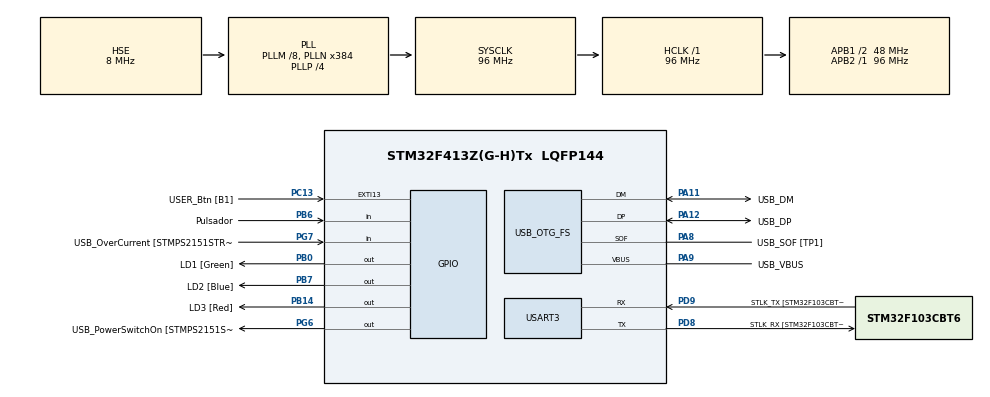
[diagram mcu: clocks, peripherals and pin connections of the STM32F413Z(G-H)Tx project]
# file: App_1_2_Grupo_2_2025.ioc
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Mcu.Family=STM32F4
Mcu.Name=STM32F413Z(G-H)Tx
Mcu.Package=LQFP144
NVIC.PriorityGroup=NVIC_PRIORITYGROUP_4
PA10.GPIO_Label=USB_ID
PA10.Signal=USB_OTG_FS_ID
PA11.GPIO_Label=USB_DM
PA11.Mode=Device_Only
PA11.Signal=USB_OTG_FS_DM
PA12.GPIO_Label=USB_DP
PA12.Mode=Device_Only
PA12.Signal=USB_OTG_FS_DP
PA13.GPIO_Label=TMS
PA13.Mode=Serial_Wire
PA13.Signal=SYS_JTMS-SWDIO
PA14.GPIO_Label=TCK
PA14.Mode=Serial_Wire
PA14.Signal=SYS_JTCK-SWCLK
PA8.GPIO_Label=USB_SOF [TP1]
PA8.Mode=Activate_SOF_FS
PA8.Signal=USB_OTG_FS_SOF
PA9.GPIO_Label=USB_VBUS
PA9.Mode=Activate_VBUS
PA9.Signal=USB_OTG_FS_VBUS
PB0.GPIO_Label=LD1 [Green]
PB0.Signal=GPIO_Output
PB14.GPIO_Label=LD3 [Red]
PB14.Signal=GPIO_Output
PB3.GPIO_Label=SWO
PB3.Signal=SYS_JTDO-SWO
PB6.GPIO_Label=Pulsador
PB6.Signal=GPIO_Input
PB7.GPIO_Label=LD2 [Blue]
PB7.Signal=GPIO_Output
PC13.GPIO_Label=USER_Btn [B1]
PC13.Signal=GPXTI13
PC14-OSC32_IN.Mode=LSE-External-Oscillator
PC14-OSC32_IN.Signal=RCC_OSC32_IN
PC15-OSC32_OUT.Mode=LSE-External-Oscillator
PC15-OSC32_OUT.Signal=RCC_OSC32_OUT
PD8.GPIO_Label=STLK_RX [STM32F103CBT6_PA3]
PD8.Mode=Asynchronous
PD8.Signal=USART3_TX
PD9.GPIO_Label=STLK_TX [STM32F103CBT6_PA2]
PD9.Mode=Asynchronous
PD9.Signal=USART3_RX
PG6.GPIO_Label=USB_PowerSwitchOn [STMPS2151STR_EN]
PG6.Signal=GPIO_Output
PG7.GPIO_Label=USB_OverCurrent [STMPS2151STR_FAULT]
PG7.Signal=GPIO_Input
PH0\ -\ OSC_IN.GPIO_Label=MCO
PH0\ -\ OSC_IN.Mode=HSE-External-Clock-Source
PH0\ -\ OSC_IN.Signal=RCC_OSC_IN
PH1\ -\ OSC_OUT.Mode=HSE-External-Clock-Source
PH1\ -\ OSC_OUT.Signal=RCC_OSC_OUT
ProjectManager.HeapSize=0x200
ProjectManager.StackSize=0x400
ProjectManager.TargetToolchain=STM32CubeIDE
RCC.48MHZClocksFreq_Value=24000000
RCC.AHBFreq_Value=96000000
RCC.APB1CLKDivider=RCC_HCLK_DIV2
RCC.APB1Freq_Value=48000000
RCC.APB1TimFreq_Value=96000000
RCC.APB2Freq_Value=96000000
RCC.APB2TimFreq_Value=96000000
RCC.CortexFreq_Value=96000000
RCC.HCLKFreq_Value=96000000
RCC.HSE_VALUE=8000000
RCC.HSI_VALUE=16000000
RCC.PLLM=8
RCC.PLLMUL=RCC_PLL_MUL9
RCC.PLLN=384
RCC.PLLP=RCC_PLLP_DIV4
RCC.PLLQ=8
RCC.PRESCALERUSB=RCC_USBCLKSOURCE_PLL_DIV1_5
RCC.SYSCLKFreq_VALUE=96000000
RCC.SYSCLKSource=RCC_SYSCLKSOURCE_PLLCLK
RCC.SYSCLKSourceVirtual=RCC_SYSCLKSOURCE_PLLCLK
RCC.USBFreq_Value=48000000
RCC.VCOOutputFreq_Value=384000000
USART3.VirtualMode=VM_ASYNC
USB_OTG_FS.VirtualMode=Device_Only
board=NUCLEO-F413ZH

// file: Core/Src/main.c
/* USER CODE BEGIN Header */
/**
  ******************************************************************************
  * @file           : main.c
  * @brief          : Main program body
  ******************************************************************************
  * @attention
  *
  * Copyright (c) 2025 STMicroelectronics.
  * All rights reserved.
  *
  * This software is licensed under terms that can be found in the LICENSE file
  * in the root directory of this software component.
  * If no LICENSE file comes with this software, it is provided AS-IS.
  *
  ******************************************************************************
  */
/* USER CODE END Header */
#include "main.h"

uint8_t secuencia = 1;

UART_HandleTypeDef huart3;

PCD_HandleTypeDef hpcd_USB_OTG_FS;

void SystemClock_Config(void);
static void MX_GPIO_Init(void);
static void MX_USART3_UART_Init(void);
static void MX_USB_OTG_FS_PCD_Init(void);

int main(void)
{

  /* MCU Configuration--------------------------------------------------------*/

  /* Reset of all peripherals, Initializes the Flash interface and the Systick. */
  HAL_Init();

  /* Configure the system clock */
  SystemClock_Config();

  /* Initialize all configured peripherals */
  MX_GPIO_Init();
  MX_USART3_UART_Init();
  MX_USB_OTG_FS_PCD_Init();

  /* Infinite loop */
  while (1)
  {

    /* USER CODE BEGIN 3 */
	  switch(secuencia){
	        case 1: HAL_GPIO_WritePin(GPIOB, LD1_Pin, GPIO_PIN_SET);
	 	 	        HAL_Delay(200);
	 	            HAL_GPIO_WritePin(GPIOB, LD1_Pin, GPIO_PIN_RESET);
	 	 	        HAL_Delay(200);
	 	 	        HAL_GPIO_WritePin(GPIOB, LD2_Pin, GPIO_PIN_SET);
	 	 	        HAL_Delay(200);
	 	 	        HAL_GPIO_WritePin(GPIOB, LD2_Pin, GPIO_PIN_RESET);
	 	 	        HAL_Delay(200);
	 	 	        HAL_GPIO_WritePin(GPIOB, LD3_Pin, GPIO_PIN_SET);
	 	 	        HAL_Delay(200);
	 	 	        HAL_GPIO_WritePin(GPIOB, LD3_Pin, GPIO_PIN_RESET);
	 	 	        HAL_Delay(200);
	 	 	        break;
	        case 2: HAL_GPIO_WritePin(GPIOB, LD3_Pin, GPIO_PIN_SET);
	 	            HAL_Delay(200);
	                HAL_GPIO_WritePin(GPIOB, LD3_Pin, GPIO_PIN_RESET);
	 	            HAL_Delay(200);
	 	            HAL_GPIO_WritePin(GPIOB, LD2_Pin, GPIO_PIN_SET);
	 	            HAL_Delay(200);
	 	            HAL_GPIO_WritePin(GPIOB, LD2_Pin, GPIO_PIN_RESET);
	 	            HAL_Delay(200);
	 	            HAL_GPIO_WritePin(GPIOB, LD1_Pin, GPIO_PIN_SET);
	 	            HAL_Delay(200);
	 	            HAL_GPIO_WritePin(GPIOB, LD1_Pin, GPIO_PIN_RESET);
	 	            HAL_Delay(200);
	      }
	           if(HAL_GPIO_ReadPin(GPIOB, Pulsador_Pin) == GPIO_PIN_SET){
	     	         secuencia = secuencia+1;
	     	         HAL_Delay(200);
	     	              if(secuencia ==3){
	     		              secuencia = 1;
	     	      }
	      }
  }
  /* USER CODE END 3 */
}

void SystemClock_Config(void)
{
  RCC_OscInitTypeDef RCC_OscInitStruct = {0};
  RCC_ClkInitTypeDef RCC_ClkInitStruct = {0};

  /** Configure the main internal regulator output voltage
  */
  __HAL_RCC_PWR_CLK_ENABLE();
  __HAL_PWR_VOLTAGESCALING_CONFIG(PWR_REGULATOR_VOLTAGE_SCALE1);

  /** Initializes the RCC Oscillators according to the specified parameters
  * in the RCC_OscInitTypeDef structure.
  */
  RCC_OscInitStruct.OscillatorType = RCC_OSCILLATORTYPE_HSE;
  RCC_OscInitStruct.HSEState = RCC_HSE_BYPASS;
  RCC_OscInitStruct.PLL.PLLState = RCC_PLL_ON;
  RCC_OscInitStruct.PLL.PLLSource = RCC_PLLSOURCE_HSE;
  RCC_OscInitStruct.PLL.PLLM = 8;
  RCC_OscInitStruct.PLL.PLLN = 384;
  RCC_OscInitStruct.PLL.PLLP = RCC_PLLP_DIV4;
  RCC_OscInitStruct.PLL.PLLQ = 8;
  RCC_OscInitStruct.PLL.PLLR = 2;
  if (HAL_RCC_OscConfig(&RCC_OscInitStruct) != HAL_OK)
  {
    Error_Handler();
  }

  /** Initializes the CPU, AHB and APB buses clocks
  */
  RCC_ClkInitStruct.ClockType = RCC_CLOCKTYPE_HCLK|RCC_CLOCKTYPE_SYSCLK
                              |RCC_CLOCKTYPE_PCLK1|RCC_CLOCKTYPE_PCLK2;
  RCC_ClkInitStruct.SYSCLKSource = RCC_SYSCLKSOURCE_PLLCLK;
  RCC_ClkInitStruct.AHBCLKDivider = RCC_SYSCLK_DIV1;
  RCC_ClkInitStruct.APB1CLKDivider = RCC_HCLK_DIV2;
  RCC_ClkInitStruct.APB2CLKDivider = RCC_HCLK_DIV1;

  if (HAL_RCC_ClockConfig(&RCC_ClkInitStruct, FLASH_LATENCY_3) != HAL_OK)
  {
    Error_Handler();
  }
}

static void MX_USART3_UART_Init(void)
{

  huart3.Instance = USART3;
  huart3.Init.BaudRate = 115200;
  huart3.Init.WordLength = UART_WORDLENGTH_8B;
  huart3.Init.StopBits = UART_STOPBITS_1;
  huart3.Init.Parity = UART_PARITY_NONE;
  huart3.Init.Mode = UART_MODE_TX_RX;
  huart3.Init.HwFlowCtl = UART_HWCONTROL_NONE;
  huart3.Init.OverSampling = UART_OVERSAMPLING_16;
  if (HAL_UART_Init(&huart3) != HAL_OK)
  {
    Error_Handler();
  }

}

static void MX_USB_OTG_FS_PCD_Init(void)
{

  hpcd_USB_OTG_FS.Instance = USB_OTG_FS;
  hpcd_USB_OTG_FS.Init.dev_endpoints = 6;
  hpcd_USB_OTG_FS.Init.speed = PCD_SPEED_FULL;
  hpcd_USB_OTG_FS.Init.dma_enable = DISABLE;
  hpcd_USB_OTG_FS.Init.phy_itface = PCD_PHY_EMBEDDED;
  hpcd_USB_OTG_FS.Init.Sof_enable = ENABLE;
  hpcd_USB_OTG_FS.Init.low_power_enable = DISABLE;
  hpcd_USB_OTG_FS.Init.lpm_enable = DISABLE;
  hpcd_USB_OTG_FS.Init.battery_charging_enable = ENABLE;
  hpcd_USB_OTG_FS.Init.vbus_sensing_enable = ENABLE;
  hpcd_USB_OTG_FS.Init.use_dedicated_ep1 = DISABLE;
  if (HAL_PCD_Init(&hpcd_USB_OTG_FS) != HAL_OK)
  {
    Error_Handler();
  }

}

static void MX_GPIO_Init(void)
{
  GPIO_InitTypeDef GPIO_InitStruct = {0};

  /* GPIO Ports Clock Enable */
  __HAL_RCC_GPIOC_CLK_ENABLE();
  __HAL_RCC_GPIOH_CLK_ENABLE();
  __HAL_RCC_GPIOB_CLK_ENABLE();
  __HAL_RCC_GPIOD_CLK_ENABLE();
  __HAL_RCC_GPIOG_CLK_ENABLE();
  __HAL_RCC_GPIOA_CLK_ENABLE();

  /*Configure GPIO pin Output Level */
  HAL_GPIO_WritePin(GPIOB, LD1_Pin|LD3_Pin|LD2_Pin, GPIO_PIN_RESET);

  /*Configure GPIO pin Output Level */
  HAL_GPIO_WritePin(USB_PowerSwitchOn_GPIO_Port, USB_PowerSwitchOn_Pin, GPIO_PIN_RESET);

  /*Configure GPIO pin : USER_Btn_Pin */
  GPIO_InitStruct.Pin = USER_Btn_Pin;
  GPIO_InitStruct.Mode = GPIO_MODE_IT_RISING;
  GPIO_InitStruct.Pull = GPIO_NOPULL;
  HAL_GPIO_Init(USER_Btn_GPIO_Port, &GPIO_InitStruct);

  /*Configure GPIO pins : LD1_Pin LD3_Pin LD2_Pin */
  GPIO_InitStruct.Pin = LD1_Pin|LD3_Pin|LD2_Pin;
  GPIO_InitStruct.Mode = GPIO_MODE_OUTPUT_PP;
  GPIO_InitStruct.Pull = GPIO_NOPULL;
  GPIO_InitStruct.Speed = GPIO_SPEED_FREQ_LOW;
  HAL_GPIO_Init(GPIOB, &GPIO_InitStruct);

  /*Configure GPIO pin : USB_PowerSwitchOn_Pin */
  GPIO_InitStruct.Pin = USB_PowerSwitchOn_Pin;
  GPIO_InitStruct.Mode = GPIO_MODE_OUTPUT_PP;
  GPIO_InitStruct.Pull = GPIO_NOPULL;
  GPIO_InitStruct.Speed = GPIO_SPEED_FREQ_LOW;
  HAL_GPIO_Init(USB_PowerSwitchOn_GPIO_Port, &GPIO_InitStruct);

  /*Configure GPIO pin : USB_OverCurrent_Pin */
  GPIO_InitStruct.Pin = USB_OverCurrent_Pin;
  GPIO_InitStruct.Mode = GPIO_MODE_INPUT;
  GPIO_InitStruct.Pull = GPIO_NOPULL;
  HAL_GPIO_Init(USB_OverCurrent_GPIO_Port, &GPIO_InitStruct);

  /*Configure GPIO pin : Pulsador_Pin */
  GPIO_InitStruct.Pin = Pulsador_Pin;
  GPIO_InitStruct.Mode = GPIO_MODE_INPUT;
  GPIO_InitStruct.Pull = GPIO_NOPULL;
  HAL_GPIO_Init(Pulsador_GPIO_Port, &GPIO_InitStruct);

}

void Error_Handler(void)
{
  __disable_irq();
  while (1)
  {
  }
}
